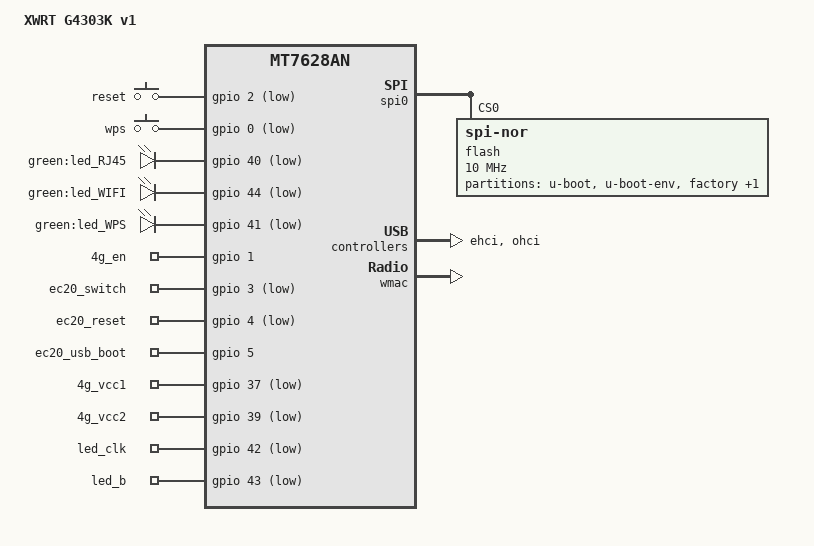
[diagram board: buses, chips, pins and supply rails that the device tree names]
// SPDX-License-Identifier: GPL-2.0-or-later OR MIT
/dts-v1/;

#include "mt7628an.dtsi"

#include <dt-bindings/gpio/gpio.h>
#include <dt-bindings/input/input.h>

/ {
	compatible = "xwrt,g4303k-v1", "mediatek,mt7628an-soc";
	model = "XWRT G4303K v1";

	chosen {
		bootargs = "console=ttyS0,57600";
	};

	aliases {
		led-boot = &led_WPS;
		led-failsafe = &led_WPS;
		led-running = &led_WPS;
		led-upgrade = &led_WPS;
	};

	keys {
		compatible = "gpio-keys";

		reset {
			label = "reset";
			gpios = <&gpio 2 GPIO_ACTIVE_LOW>;
			linux,code = <KEY_RESTART>;
		};

		wps {
			label = "wps";
			gpios = <&gpio 0 GPIO_ACTIVE_LOW>;
			linux,code = <KEY_WPS_BUTTON>;
		};
	};

	leds {
		compatible = "gpio-leds";

		led_RJ45 {
			label = "green:led_RJ45";
			gpios = <&gpio 40 GPIO_ACTIVE_LOW>; //40
		};

		led_WIFI {
			label = "green:led_WIFI";
			gpios = <&gpio 44 GPIO_ACTIVE_LOW>; //44
			linux,default-trigger = "phy0tpt";
		};

		led_WPS: led_WPS {
			label = "green:led_WPS";
			gpios = <&gpio 41 GPIO_ACTIVE_LOW>; //41
		};
	};

	gpio_export {
		compatible = "gpio-export";
		#size-cells = <0>;

		4g_en {
			gpio-export,name = "4g_en";
			gpio-export,output = <1>;
			gpios = <&gpio 1 GPIO_ACTIVE_HIGH>;
		};

		ec20_switch {
			gpio-export,name = "ec20_switch";
			gpio-export,output = <1>;
			gpios = <&gpio 3 GPIO_ACTIVE_LOW>;
		};

		ec20_reset {
			gpio-export,name = "ec20_reset";
			gpio-export,output = <1>;
			gpios = <&gpio 4 GPIO_ACTIVE_LOW>;
		};

		ec20_usb_boot {
			gpio-export,name = "ec20_usb_boot";
			gpio-export,output = <1>;
			gpios = <&gpio 5 GPIO_ACTIVE_HIGH>;
		};

		4g_vcc1 {
			gpio-export,name = "4g_vcc1";
			gpio-export,output = <1>;
			gpios = <&gpio 37 GPIO_ACTIVE_LOW>; //37
		};

		4g_vcc2 {
			gpio-export,name = "4g_vcc2";
			gpio-export,output = <1>;
			gpios = <&gpio 39 GPIO_ACTIVE_LOW>; //39
		};

		led_clk {
			gpio-export,name = "led_clk";
			gpio-export,output = <1>;
			gpios = <&gpio 42 GPIO_ACTIVE_LOW>; //42
		};

		led_b {
			gpio-export,name = "led_b";
			gpio-export,output = <1>;
			gpios = <&gpio 43 GPIO_ACTIVE_LOW>; //43
		};
	};
};

&spi0 {
	status = "okay";

	flash@0 {
		compatible = "jedec,spi-nor";
		reg = <0>;
		spi-max-frequency = <10000000>;

		partitions {
			compatible = "fixed-partitions";
			#address-cells = <1>;
			#size-cells = <1>;

			partition@0 {
				label = "u-boot";
				reg = <0x0 0x30000>;
				read-only;
			};

			partition@30000 {
				label = "u-boot-env";
				reg = <0x30000 0x10000>;
				read-only;
			};

			factory: partition@40000 {
				label = "factory";
				reg = <0x40000 0x10000>;
				read-only;
			};

			partition@50000 {
				compatible = "denx,uimage";
				label = "firmware";
				reg = <0x50000 0xfb0000>;
			};
		};
	};
};

&ehci {
	status = "okay";
};

&ohci {
	status = "okay";
};

&state_default {
	gpio {
		groups = "gpio", "i2c", "i2s", "p0led_an", "p1led_an", "p2led_an", "p3led_an", "p4led_an", "refclk", "wled_an";
		function = "gpio";
	};
};

&ethernet {
	mediatek,portmap = "llllw";
	mtd-mac-address = <&factory 0x4>;
	nvmem-cells = <&macaddr_factory_4>;
	nvmem-cell-names = "mac-address";
	mediatek,mtd-eeprom = <&factory 0x0>;
};

&wmac {
	status = "okay";
	mtd-mac-address = <&factory 0x28>;
	nvmem-cells = <&macaddr_factory_28>;
	nvmem-cell-names = "mac-address";
};

&factory {
	compatible = "nvmem-cells";
	#address-cells = <1>;
	#size-cells = <1>;

	macaddr_factory_4: macaddr@4 {
		reg = <0x4 0x6>;
	};

	macaddr_factory_28: macaddr@28 {
		reg = <0x28 0x6>;
	};
};
